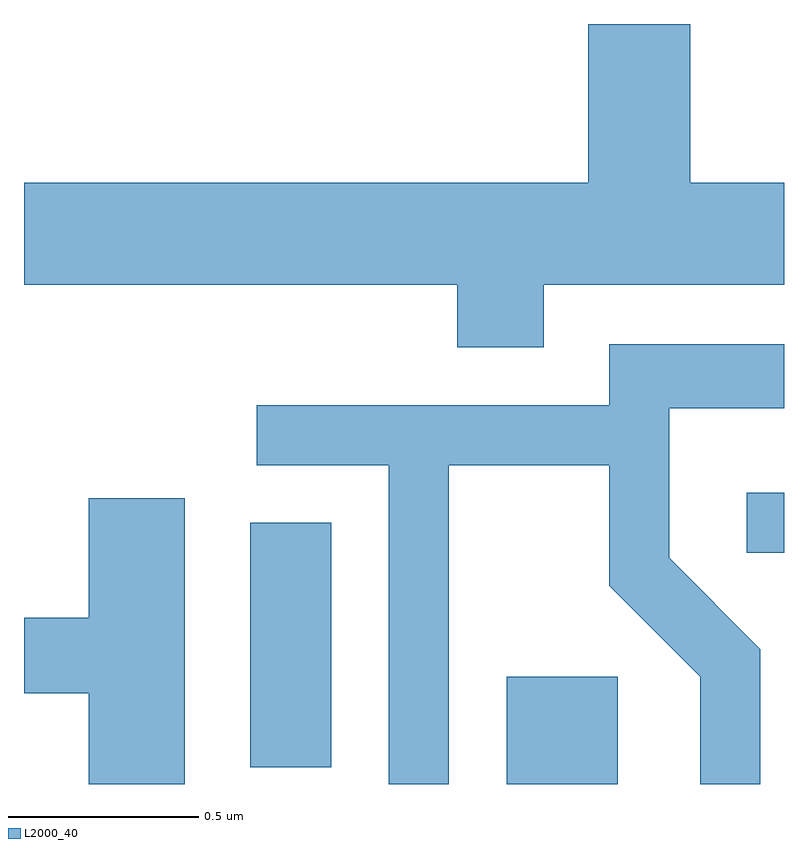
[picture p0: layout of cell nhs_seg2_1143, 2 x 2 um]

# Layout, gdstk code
import gdstk
lib = gdstk.Library(unit=1e-6, precision=1e-09)
def R(c, l, rs):  # rectangles x0, y0, x1, y1
    for r in rs: c.add(gdstk.rectangle(r[:2], r[2:], *l))
def P(c, l, *ps):  # polygons
    for p in ps: c.add(gdstk.Polygon(p, *l))
L2000_40 = (2000, 40)

nhs_seg2_1143 = lib.new_cell('nhs_seg2_1143')
R(nhs_seg2_1143, L2000_40, [(194.881,1024.802,195.174,1025.084), (194.206,1024.846,194.419,1025.489), (195.513,1025.411,195.611,1025.569)])
P(nhs_seg2_1143, L2000_40, [(194.979,1026.116),(195.611,1026.116),(195.611,1026.384),(195.364,1026.384),(195.364,1026.802),(195.096,1026.802),(195.096,1026.384),(193.611,1026.384),(193.611,1026.116),(194.751,1026.116),(194.751,1025.951),(194.979,1025.951)],
  [(194.729,1025.641),(195.151,1025.641),(195.151,1025.324),(195.391,1025.084),(195.391,1024.802),(195.549,1024.802),(195.549,1025.157),(195.309,1025.397),(195.309,1025.791),(195.611,1025.791),(195.611,1025.959),(195.151,1025.959),(195.151,1025.799),(194.223,1025.799),(194.223,1025.641),(194.571,1025.641),(194.571,1024.802),(194.729,1024.802)],
  [(194.034,1025.554),(193.781,1025.554),(193.781,1025.239),(193.611,1025.239),(193.611,1025.041),(193.781,1025.041),(193.781,1024.802),(194.034,1024.802)])

lib.write_gds('nhs_seg2_1143.gds')
